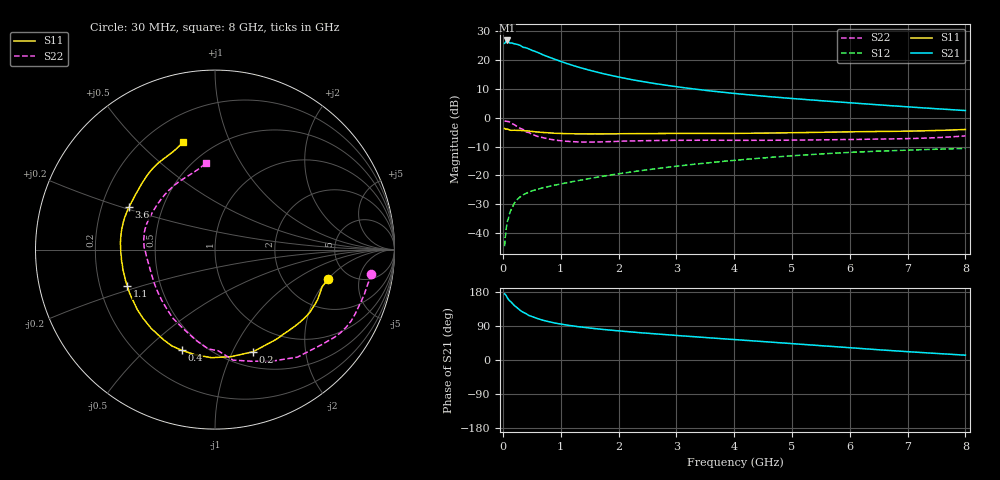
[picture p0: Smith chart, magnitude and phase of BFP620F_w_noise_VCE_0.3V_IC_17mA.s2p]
! Infineon Technologies  Discrete & RF Semiconductors
! BFP620F
! VCE =  0.3 V,  IC =  17 mA
! Common Emitter S-Parameters:  Dec 2014
# GHz  S  MA  R  50
!  f  S11  S21  S12  S22
! GHz  MAG  ANG  MAG  ANG  MAG  ANG  MAG  ANG
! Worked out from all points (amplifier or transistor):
!   95 points, 30 MHz to 8 GHz, reference 50 ohm
!   highest |S21| = 26.8 dB at 70 MHz (marker M1)
!   |S21| within 3 dB of that: start of sweep to 454.8 MHz
!   unconditionally stable (mu >= 1): 2.574 GHz to end of sweep
!   at 300 MHz: K = 0.23, MSG = 26.3 dB, |S12| = -27.5 dB
!   at 3.3 GHz: K = 1.03, MAG = 12.0 dB, |S12| = -16.2 dB
!   at 8 GHz: K = 1.10, MAG = 4.7 dB, |S12| = -10.7 dB
!   lowest NFmin = 0.76 dB at 450 MHz
!   S11 on the Smith chart (normalised r, x): 30 MHz: 3.51, -2.02; 200 MHz: 0.67, -1.20; 400 MHz: 0.38, -0.65; 1.1 GHz: 0.32, -0.18; 3.6 GHz: 0.32, +0.21; 8 GHz: 0.35, +0.69
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0.03  0.6519 -14.7  19.58 174.5  0.0059 79.9  0.8794 -8.8
0.06  0.6364 -26.2  21.65 169.3  0.0124 80.0  0.8686 -16.6
0.07  0.6342 -29.8  21.93 166.3  0.014 75.1  0.8643 -19.3
0.09  0.628 -37.2  21.37 161.2  0.0172 73.6  0.8592 -24.8
0.12  0.6104 -47.5  19.84 155.9  0.0221 70.5  0.8384 -33.6
0.15  0.6047 -56.4  19.89 151.8  0.0262 67.1  0.7992 -41.1
0.2  0.6074 -69.6  19.13 143.5  0.0333 62.2  0.755 -52.5
0.3  0.6025 -91.8  18.02 130.9  0.0424 54.0  0.6555 -71.6
0.35  0.5965 -100.6  16.65 126.0  0.046 52.2  0.6242 -80.7
0.4  0.5906 -108.3  16.4 122.4  0.0486 49.7  0.5639 -88.2
0.5  0.578 -119.9  14.82 114.9  0.0537 47.2  0.5178 -101.5
0.7  0.5541 -136.6  12.28 104.6  0.0612 45.1  0.449 -121.4
0.9  0.5375 -148.4  10.33 97.6  0.0676 45.4  0.4097 -136.4
1.1  0.5288 -157.5  8.765 92.3  0.0742 45.9  0.3902 -148.2
1.4  0.5251 -167.6  7.115 86.2  0.0845 46.9  0.3783 -161.8
2  0.5264 178.0  5.093 76.9  0.1066 47.5  0.3892 -179.2
2.7  0.5322 166.2  3.822 68.3  0.1324 46.1  0.4018 169.9
3.6  0.5342 153.8  2.913 58.2  0.1668 42.3  0.4067 159.5
4.1  0.5364 147.7  2.584 52.9  0.1857 39.5  0.4052 153.4
5.4  0.5571 134.0  2.012 38.9  0.2318 30.5  0.4124 135.6
6.7  0.58 120.3  1.621 25.0  0.2673 20.2  0.4289 117.0
8  0.6254 106.6  1.332 12.7  0.2927 10.4  0.483 95.9
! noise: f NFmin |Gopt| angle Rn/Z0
0.45  0.76  0.1  6  0.21
0.9  0.82  0.1  17  0.18
1.5  0.87  0.09  18  0.13
1.8  0.89  0.09  19  0.13
1.9  0.9  0.05  35  0.15
2.4  0.94  0.04  56  0.13
3.5  1.02  0.04  106  0.14
5.5  1.16  0.12  -145  0.09
6  1.2  0.12  240  0.13
